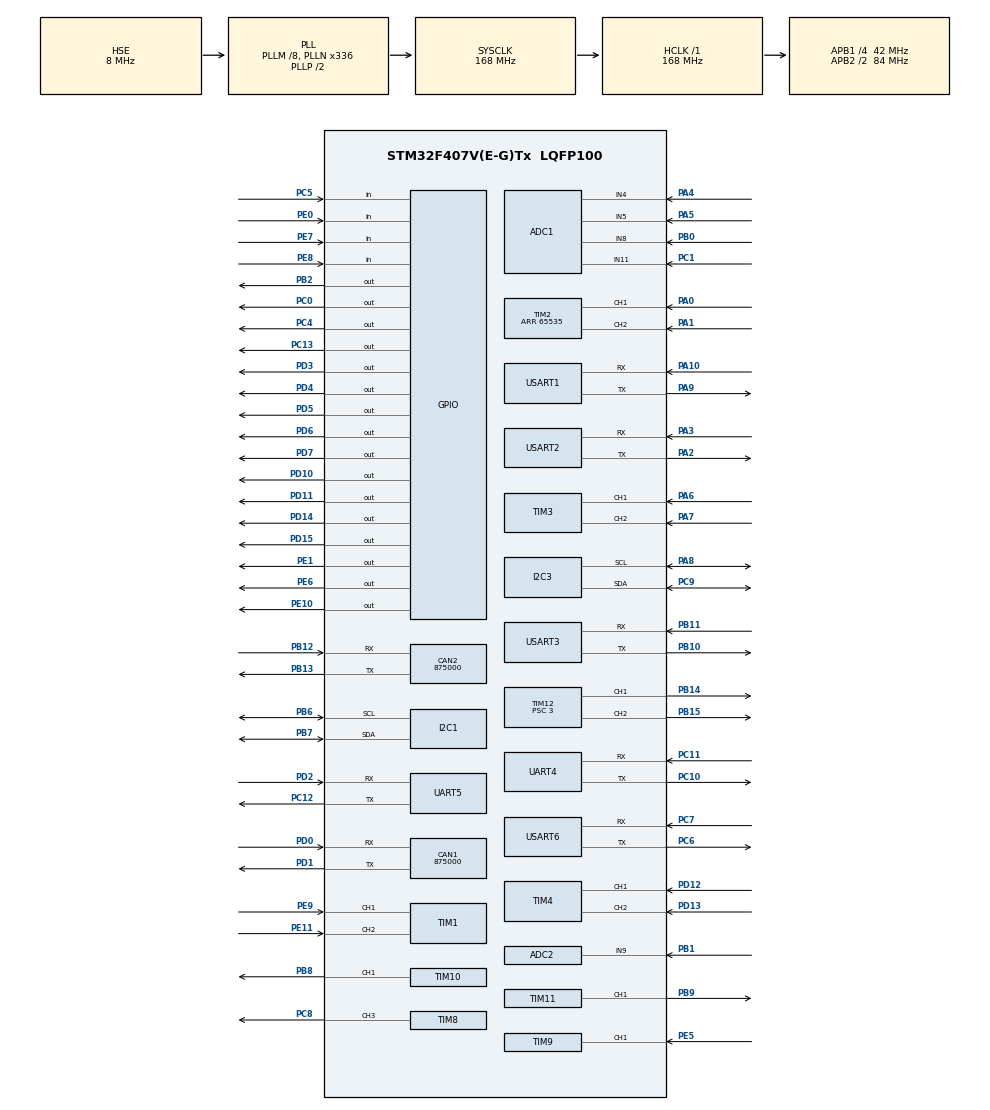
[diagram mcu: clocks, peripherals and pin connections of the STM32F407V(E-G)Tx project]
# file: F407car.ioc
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ADC1.Channel-0\#ChannelRegularConversion=ADC_CHANNEL_4
ADC1.NbrOfConversionFlag=1
ADC1.Rank-0\#ChannelRegularConversion=1
ADC1.SamplingTime-0\#ChannelRegularConversion=ADC_SAMPLETIME_3CYCLES
ADC1.master=1
ADC2.Channel-2\#ChannelRegularConversion=ADC_CHANNEL_9
ADC2.NbrOfConversionFlag=1
ADC2.Rank-2\#ChannelRegularConversion=1
ADC2.SamplingTime-2\#ChannelRegularConversion=ADC_SAMPLETIME_3CYCLES
CAN1.CalculateBaudRate=875000
CAN1.CalculateTimeBit=1142
CAN1.CalculateTimeQuantum=380.95238095238096
CAN2.CalculateBaudRate=875000
CAN2.CalculateTimeBit=1142
CAN2.CalculateTimeQuantum=380.95238095238096
Mcu.Family=STM32F4
Mcu.Name=STM32F407V(E-G)Tx
Mcu.Package=LQFP100
NVIC.PriorityGroup=NVIC_PRIORITYGROUP_4
NVIC.TIM6_DAC_IRQn=true\:0\:0\:false\:false\:true\:true\:true\:true
NVIC.UART4_IRQn=true\:0\:0\:false\:false\:true\:true\:true\:true
NVIC.USART1_IRQn=true\:0\:0\:false\:false\:true\:true\:true\:true
NVIC.USART2_IRQn=true\:0\:0\:false\:false\:true\:true\:true\:true
NVIC.USART3_IRQn=true\:0\:0\:false\:false\:true\:true\:true\:true
PA0-WKUP.Signal=S_TIM2_CH1_ETR
PA1.Signal=S_TIM2_CH2
PA10.Mode=Asynchronous
PA10.Signal=USART1_RX
PA13.Mode=Serial_Wire
PA13.Signal=SYS_JTMS-SWDIO
PA14.Mode=Serial_Wire
PA14.Signal=SYS_JTCK-SWCLK
PA2.Mode=Asynchronous
PA2.Signal=USART2_TX
PA3.Mode=Asynchronous
PA3.Signal=USART2_RX
PA4.Signal=ADCx_IN4
PA5.Signal=ADCx_IN5
PA6.Signal=S_TIM3_CH1
PA7.Signal=S_TIM3_CH2
PA8.Mode=I2C
PA8.Signal=I2C3_SCL
PA9.Mode=Asynchronous
PA9.Signal=USART1_TX
PB0.Signal=ADCx_IN8
PB1.Signal=ADCx_IN9
PB10.Mode=Asynchronous
PB10.Signal=USART3_TX
PB11.Mode=Asynchronous
PB11.Signal=USART3_RX
PB12.Mode=CAN_Activate
PB12.Signal=CAN2_RX
PB13.Mode=CAN_Activate
PB13.Signal=CAN2_TX
PB14.Signal=S_TIM12_CH1
PB15.Signal=S_TIM12_CH2
PB2.Signal=GPIO_Output
PB6.Mode=I2C
PB6.Signal=I2C1_SCL
PB7.Mode=I2C
PB7.Signal=I2C1_SDA
PB8.Signal=S_TIM10_CH1
PB9.Signal=S_TIM11_CH1
PC0.Signal=GPIO_Output
PC1.Signal=ADCx_IN11
PC10.Mode=Asynchronous
PC10.Signal=UART4_TX
PC11.Mode=Asynchronous
PC11.Signal=UART4_RX
PC12.Mode=Asynchronous
PC12.Signal=UART5_TX
PC13-ANTI_TAMP.Signal=GPIO_Output
PC4.Signal=GPIO_Output
PC5.GPIO_PuPd=GPIO_PULLUP
PC5.Signal=GPIO_Input
PC6.Mode=Asynchronous
PC6.Signal=USART6_TX
PC7.Mode=Asynchronous
PC7.Signal=USART6_RX
PC8.Signal=S_TIM8_CH3
PC9.Mode=I2C
PC9.Signal=I2C3_SDA
PD0.Mode=CAN_Activate
PD0.Signal=CAN1_RX
PD1.Mode=CAN_Activate
PD1.Signal=CAN1_TX
PD10.Signal=GPIO_Output
PD11.Signal=GPIO_Output
PD12.Signal=S_TIM4_CH1
PD13.Signal=S_TIM4_CH2
PD14.Signal=GPIO_Output
PD15.Signal=GPIO_Output
PD2.Mode=Asynchronous
PD2.Signal=UART5_RX
PD3.Signal=GPIO_Output
PD4.Signal=GPIO_Output
PD5.Signal=GPIO_Output
PD6.Signal=GPIO_Output
PD7.Signal=GPIO_Output
PE0.GPIO_PuPd=GPIO_PULLUP
PE0.Signal=GPIO_Input
PE1.Signal=GPIO_Output
PE10.Signal=GPIO_Output
PE11.Signal=S_TIM1_CH2
PE5.Signal=S_TIM9_CH1
PE6.Signal=GPIO_Output
PE7.GPIO_PuPd=GPIO_PULLUP
PE7.Signal=GPIO_Input
PE8.GPIO_PuPd=GPIO_PULLUP
PE8.Signal=GPIO_Input
PE9.Signal=S_TIM1_CH1
PH0-OSC_IN.Mode=HSE-External-Oscillator
PH0-OSC_IN.Signal=RCC_OSC_IN
PH1-OSC_OUT.Mode=HSE-External-Oscillator
PH1-OSC_OUT.Signal=RCC_OSC_OUT
ProjectManager.HeapSize=0x200
ProjectManager.StackSize=0x400
ProjectManager.TargetToolchain=MDK-ARM V5.32
RCC.48MHZClocksFreq_Value=84000000
RCC.AHBFreq_Value=168000000
RCC.APB1CLKDivider=RCC_HCLK_DIV4
RCC.APB1Freq_Value=42000000
RCC.APB1TimFreq_Value=84000000
RCC.APB2CLKDivider=RCC_HCLK_DIV2
RCC.APB2Freq_Value=84000000
RCC.APB2TimFreq_Value=168000000
RCC.CortexFreq_Value=168000000
RCC.HCLKFreq_Value=168000000
RCC.HSE_VALUE=8000000
RCC.HSI_VALUE=16000000
RCC.LSE_VALUE=32768
RCC.PLLM=8
RCC.PLLN=336
RCC.PLLSourceVirtual=RCC_PLLSOURCE_HSE
RCC.SYSCLKFreq_VALUE=168000000
RCC.SYSCLKSource=RCC_SYSCLKSOURCE_PLLCLK
RCC.VCOOutputFreq_Value=336000000
SH.ADCx_IN11.0=ADC1_IN11,IN11
SH.ADCx_IN4.0=ADC1_IN4,IN4
SH.ADCx_IN5.0=ADC1_IN5,IN5
SH.ADCx_IN8.0=ADC1_IN8,IN8
SH.ADCx_IN9.0=ADC2_IN9,IN9
SH.S_TIM10_CH1.0=TIM10_CH1,PWM Generation1 CH1
SH.S_TIM11_CH1.0=TIM11_CH1,PWM Generation1 CH1
SH.S_TIM12_CH1.0=TIM12_CH1,PWM Generation1 CH1
SH.S_TIM12_CH2.0=TIM12_CH2,PWM Generation2 CH2
SH.S_TIM1_CH1.0=TIM1_CH1,Encoder_Interface
SH.S_TIM1_CH2.0=TIM1_CH2,Encoder_Interface
SH.S_TIM2_CH1_ETR.0=TIM2_CH1,Encoder_Interface
SH.S_TIM2_CH2.0=TIM2_CH2,Encoder_Interface
SH.S_TIM3_CH1.0=TIM3_CH1,Encoder_Interface
SH.S_TIM3_CH2.0=TIM3_CH2,Encoder_Interface
SH.S_TIM4_CH1.0=TIM4_CH1,Encoder_Interface
SH.S_TIM4_CH2.0=TIM4_CH2,Encoder_Interface
SH.S_TIM8_CH3.0=TIM8_CH3,Output Compare3 CH3
SH.S_TIM9_CH1.0=TIM9_CH1,Input_Capture1_from_TI1
TIM1.EncoderMode=TIM_ENCODERMODE_TI12
TIM1.IC1Filter=4
TIM1.IC2Filter=4
TIM10.Channel=TIM_CHANNEL_1
TIM10.Prescaler=7
TIM11.Channel=TIM_CHANNEL_1
TIM11.Period=1049
TIM11.Prescaler=7
TIM12.Channel-PWM\ Generation1\ CH1=TIM_CHANNEL_1
TIM12.Channel-PWM\ Generation2\ CH2=TIM_CHANNEL_2
TIM12.Period=1049
TIM12.Prescaler=3
TIM2.EncoderMode=TIM_ENCODERMODE_TI12
TIM2.IC1Filter=4
TIM2.IC1Polarity=TIM_ICPOLARITY_FALLING
TIM2.IC2Filter=4
TIM2.Period=65535
TIM3.EncoderMode=TIM_ENCODERMODE_TI12
TIM3.IC1Filter=4
TIM3.IC2Filter=4
TIM4.EncoderMode=TIM_ENCODERMODE_TI12
TIM4.IC1Filter=4
TIM4.IC1Polarity=TIM_ICPOLARITY_FALLING
TIM4.IC2Filter=4
TIM6.AutoReloadPreload=TIM_AUTORELOAD_PRELOAD_ENABLE
TIM6.Period=4999
TIM6.Prescaler=83
TIM8.AutoReloadPreload=TIM_AUTORELOAD_PRELOAD_DISABLE
TIM8.Channel-Output\ Compare3\ CH3=TIM_CHANNEL_3
TIM9.Channel-Input_Capture1_from_TI1=TIM_CHANNEL_1
TIM9.Channel-Input_Capture2_from_TI1_63=TIM_CHANNEL_2
TIM9.ICPolarity_CH2=TIM_INPUTCHANNELPOLARITY_FALLING
UART4.VirtualMode=Asynchronous
UART5.VirtualMode=Asynchronous
USART1.VirtualMode=VM_ASYNC
USART2.VirtualMode=VM_ASYNC
USART3.VirtualMode=VM_ASYNC
USART6.VirtualMode=VM_ASYNC
VP_TIM10_VS_ClockSourceINT.Mode=Enable_Timer
VP_TIM11_VS_ClockSourceINT.Mode=Enable_Timer
VP_TIM12_VS_ClockSourceINT.Mode=Internal
VP_TIM6_VS_ClockSourceINT.Mode=Enable_Timer
VP_TIM8_VS_ClockSourceINT.Mode=Internal
VP_TIM9_VS_indirect_ch1.Mode=Input_Capture2_from_TI1_63
board=custom

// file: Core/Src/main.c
/* USER CODE BEGIN Header */
/**
  ******************************************************************************
  * @file           : main.c
  * @brief          : Main program body
  ******************************************************************************
  * @attention
  *
  * Copyright (c) 2026 STMicroelectronics.
  * All rights reserved.
  *
  * This software is licensed under terms that can be found in the LICENSE file
  * in the root directory of this software component.
  * If no LICENSE file comes with this software, it is provided AS-IS.
  *
  ******************************************************************************
  */
/* USER CODE END Header */
#include "main.h"
#include "adc.h"
#include "can.h"
#include "i2c.h"
#include "tim.h"
#include "usart.h"
#include "gpio.h"

/* USER CODE BEGIN Includes */
#include "led.h"
#include "uart1.h"
#include "encoder.h"
#include "motor.h"
#include "jy61p.h"
#include "control.h"
#include "kinematics.h"
#include "odometry.h"
#include "laser.h"
#include <stdio.h>
/* EasyLogger：LOG_TAG / LOG_LVL 必须先于 <elog.h> 定义 */
#define LOG_TAG    "MAIN"
#define LOG_LVL    ELOG_LVL_VERBOSE
#include <elog.h>
#include "SCServo.h"
#include "uart.h"
#include "receive.h"
#include "OLED.h"
#include "oled_ui.h"
#include "PID.h"
#include "key.h"

/* USER CODE END Includes */

/* USER CODE BEGIN PM */
uint8_t  g_uart3_receivedate = 0;  /* USART3(HWT905) 单字节接收缓冲 */
uint8_t  g_uart1_receivedate = 0;  /* USART1(蓝牙)   单字节接收缓冲 */
/* USER CODE END PM */

void SystemClock_Config(void);

int main(void)
{

  /* MCU Configuration--------------------------------------------------------*/

  /* Reset of all peripherals, Initializes the Flash interface and the Systick. */
  HAL_Init();

  /* Configure the system clock */
  SystemClock_Config();

  /* Initialize all configured peripherals */
  MX_GPIO_Init();
  MX_I2C3_Init();
  MX_UART4_Init();
  MX_UART5_Init();
  MX_USART1_UART_Init();
  MX_USART2_UART_Init();
  MX_USART3_UART_Init();
  MX_USART6_UART_Init();
  MX_CAN1_Init();
  MX_CAN2_Init();
  MX_TIM1_Init();
  MX_TIM2_Init();
  MX_TIM3_Init();
  MX_TIM4_Init();
  MX_TIM6_Init();
  MX_TIM8_Init();
  MX_TIM9_Init();
  MX_TIM10_Init();
  MX_TIM11_Init();
  MX_TIM12_Init();
  MX_ADC1_Init();
  MX_ADC2_Init();
  MX_I2C1_Init();
  /* USER CODE BEGIN 2 */

  // UART1_Send_Str((uint8_t *)"Car System Ready!  cmd: #N v  |  #a v1 v2 v3 v4\r\n");

  /* ===== EasyLogger 初始化（同步输出到 USART1/蓝牙口 115200）===== */
  elog_init();
  /* enabled_fmt_set 默认全 0，必须逐级显式开；只开 LVL|TAG|TIME */
  elog_set_fmt(ELOG_LVL_ASSERT,  ELOG_FMT_LVL | ELOG_FMT_TAG | ELOG_FMT_TIME);
  elog_set_fmt(ELOG_LVL_ERROR,   ELOG_FMT_LVL | ELOG_FMT_TAG | ELOG_FMT_TIME);
  elog_set_fmt(ELOG_LVL_WARN,    ELOG_FMT_LVL | ELOG_FMT_TAG | ELOG_FMT_TIME);
  elog_set_fmt(ELOG_LVL_INFO,    ELOG_FMT_LVL | ELOG_FMT_TAG | ELOG_FMT_TIME);
  elog_set_fmt(ELOG_LVL_DEBUG,   ELOG_FMT_LVL | ELOG_FMT_TAG | ELOG_FMT_TIME);
  elog_set_fmt(ELOG_LVL_VERBOSE, ELOG_FMT_LVL | ELOG_FMT_TAG | ELOG_FMT_TIME);
  elog_start();
  Encoder_Init();                                 /* 启动四路编码器计数 */
  Motor_Init();                                   /* 启动四路电机 PWM 输出 */
  Key_Init();                                     /* 四个按键（PC5/PE7/PE0/PE8，上拉） */
  Kinematics_Init();
  Odometry_Init();                                /* 里程计：上电位置记为原点 */

  HAL_TIM_Base_Start_IT(&htim6); //【必须手动加，开启定时器+中断】
  /* HWT905 九轴陀螺仪（USART3 PB10/PB11，模块波特率 115200）。
   * 平放时 |A| 应≈1.0g；对不上先查波特率，再查 jy61p.c 的换算系数。
   * 后续逐字节接收由 HAL_UART_RxCpltCallback 重武装（见 USER CODE BEGIN 4） */
  HAL_UART_Receive_IT(&huart3, &g_uart3_receivedate, 1);
  /* 视觉串口接收初始化 */
  Vision_UART_Init();

  /* XY 舵机 PID 控制初始化 */
  Servo_PID_Init();
  Uart_Init();   /* 使能舵机 USART2 接收中断, ReadPos 才能读到位置 */

  /* OLED 初始化 */
  OLED_Init();
  OLED_ShowString(0, 0, "Waiting...", OLED_6X8);
  OLED_Update();

  /* 非阻塞调度时间戳(毫秒) */
  uint32_t prev_led   = 0;
  uint32_t prev_servo = 0;
  uint32_t prev_oled  = 0;
  static uint8_t sim_key3_state = 0;   /* KEY_3 模拟: 0=未按 1=球已模拟 2=桶已模拟 */

  /* 蓝牙 PID 调试口（USART1 PA9/PA10，115200）：和上面一样先武装起来，
   * 每字节进 HAL_UART_RxCpltCallback -> Debug_RxByte()。
   * 指令与回传格式见 app/control.h */
  HAL_UART_Receive_IT(&huart1, &g_uart1_receivedate, 1);

  /* 电机自检：架空车轮后取消下面一行的注释即可运行（约 11 秒后四轮自动停转） */
  /* Motor_TestRun(); */
  /* USER CODE END 2 */

  /* Infinite loop */
  /* USER CODE BEGIN WHILE */

   LED_On(1);
   LED_On(2);
   LED_On(3);
   LED_On(4);
  HAL_Delay(3000);  /* 等待蓝牙连接，避免开机就发一堆垃圾 */
   LED_Off(1);
   LED_Off(2);
   LED_Off(3);
   LED_Off(4);

  /* EasyLogger 上电验证日志（等蓝牙连上后再发） */
  log_i("system boot ok, tick=%lu", (unsigned long)HAL_GetTick());
  while (1)
  {
    uint8_t txbuf[128];
    int     len;

//	  Motor_Load(100,0,0,0);
//	  Motor_Load(100,-100,+100,-100);
//    /* --- 旧写法（sprintf + UART1_Send_Buf）已废弃，改为 elog 写法 ---
//   len = sprintf((char *)txbuf, "E1:%d  E2:%d E3:%d  E4:%d\r\n",
//                 (int)Encoder_GetDelta(ENC_WHEEL1), (int)Encoder_GetDelta(ENC_WHEEL2),
//                 (int)Encoder_GetDelta(ENC_WHEEL3), (int)Encoder_GetDelta(ENC_WHEEL4));
//   UART1_Send_Buf(txbuf, (uint16_t)len);
//     --- 新写法：一条 log_i 直接打出，不用 txbuf/len --- */
//
//    log_i("E1:%d E2:%d E3:%d E4:%d",
//          (int)Encoder_GetDelta(ENC_WHEEL1), (int)Encoder_GetDelta(ENC_WHEEL2),
//          (int)Encoder_GetDelta(ENC_WHEEL3), (int)Encoder_GetDelta(ENC_WHEEL4));
//
//    log_i("T1:%d E1:%d P1:%d T2:%d E2:%d P2:%d "
//          "T3:%d E3:%d P3:%d T4:%d E4:%d P4:%d",
//          (int)Debug_Target[0], (int)Encoder_GetDelta(ENC_WHEEL1), (int)Debug_Pwm[0],
//          (int)Debug_Target[1], (int)Encoder_GetDelta(ENC_WHEEL2), (int)Debug_Pwm[1],
//          (int)Debug_Target[2], (int)Encoder_GetDelta(ENC_WHEEL3), (int)Debug_Pwm[2],
//          (int)Debug_Target[3], (int)Encoder_GetDelta(ENC_WHEEL4), (int)Debug_Pwm[3]);
//
//    /* Debug_Poll() 见 app/control.c（已改为 elog 写法） */
//
//    /* HWT905 示例：取消注释后要把上面 Debug_Poll 关掉，两者抢同一条蓝牙口。
//     * 注意 %f 会拉入浮点 printf（多几 KB flash、更吃栈），建议改定点 (int)(Yaw*100) */
//    log_i("A:%.3f %.3f %.3f G:%.2f %.2f %.2f RPY:%.2f %.2f %.2f",
//          Ax, Ay, Az, Gx, Gy, Gz, Roll, Pitch, Yaw);
		if (Key_Check(KEY_1, KEY_SINGLE))
		{
			KeyNum ^= 1;              /* 0 <-> 1 跑停翻转 */
			if (KeyNum) LED_On(1);    /* LED1 如实反映当前状态 */
			else        LED_Off(1);
		}

        /* 测试模拟: KEY_2=模拟收到二维码A5; KEY_3 第1次=球稳定(num1=2), 第2次=桶稳定 */
        if (Key_Check(KEY_2, KEY_SINGLE))
        {
            vision_data.rx_status = 1;      /* 模拟收到二维码 A5 */
        }
        if (Key_Check(KEY_3, KEY_SINGLE))
        {
            if (sim_key3_state == 0) { sim_ball_stable = 1; vision_data.num1 = 2; sim_key3_state = 1; }
            else if (sim_key3_state == 1) { sim_bucket_stable = 1; sim_key3_state = 2; }
        }
		if (Key_Check(KEY_4, KEY_SINGLE))
        {
           /* 识别直线小车补偿测试: 0=关 -> 1=X补偿(61) -> 2=Y补偿(85) -> 0 */
           test_line_run = (test_line_run + 1) % 3;
        }

    /* HOLD 段动作(视觉握手 + 舵机序列), 主循环每圈调用 */
    Hold_Action_Update();

    Laser_Track_Test();   /* 激光打靶测试(独立于运动系统) */
    Line_Track_Test();    /* 识别直线小车补偿测试(独立于运动系统) */

    uint32_t now = HAL_GetTick();

    /* OLED 每 200ms 刷新一次(显示陀螺仪姿态角) */
    if (now - prev_oled >= 200)
    {
        prev_oled = now;
        // OLED_ShowGyro();   /* 陀螺仪页（Roll/Pitch/Yaw） */
        // OLED_ShowStatus();   /* 状态/收发/坐标/偏航角页 */
        OLED_ShowVision();
        line_test_debug();   /* 同样这几项打一行到 LOG(蓝牙口) */
        FT_test_debug();     /* 四个舵机实际位置打一行到 LOG(蓝牙口) */
    }

    /* LED1 闪烁: 每 500ms 翻转(亮500ms灭500ms) */
    if (now - prev_led >= 500)
    {
        prev_led = now;
        // LED_Toggle(1);
    }

    /* 舵机指令 + LED4: 约每 1s 一次 */
    if (now - prev_servo >= 1000)
    {
        prev_servo = now;
        // WritePosEx(1, 2680, 5, 0);
        // WritePosEx(2, 3560, 5, 0);
        // WritePosEx(3, 700, 5, 0);
        LED_Toggle(4);
    }

    /* USER CODE END WHILE */

  }
}

void SystemClock_Config(void)
{
  RCC_OscInitTypeDef RCC_OscInitStruct = {0};
  RCC_ClkInitTypeDef RCC_ClkInitStruct = {0};

  /** Configure the main internal regulator output voltage
  */
  __HAL_RCC_PWR_CLK_ENABLE();
  __HAL_PWR_VOLTAGESCALING_CONFIG(PWR_REGULATOR_VOLTAGE_SCALE1);

  /** Initializes the RCC Oscillators according to the specified parameters
  * in the RCC_OscInitTypeDef structure.
  */
  RCC_OscInitStruct.OscillatorType = RCC_OSCILLATORTYPE_HSE;
  RCC_OscInitStruct.HSEState = RCC_HSE_ON;
  RCC_OscInitStruct.PLL.PLLState = RCC_PLL_ON;
  RCC_OscInitStruct.PLL.PLLSource = RCC_PLLSOURCE_HSE;
  RCC_OscInitStruct.PLL.PLLM = 8;
  RCC_OscInitStruct.PLL.PLLN = 336;
  RCC_OscInitStruct.PLL.PLLP = RCC_PLLP_DIV2;
  RCC_OscInitStruct.PLL.PLLQ = 4;
  if (HAL_RCC_OscConfig(&RCC_OscInitStruct) != HAL_OK)
  {
    Error_Handler();
  }

  /** Initializes the CPU, AHB and APB buses clocks
  */
  RCC_ClkInitStruct.ClockType = RCC_CLOCKTYPE_HCLK|RCC_CLOCKTYPE_SYSCLK
                              |RCC_CLOCKTYPE_PCLK1|RCC_CLOCKTYPE_PCLK2;
  RCC_ClkInitStruct.SYSCLKSource = RCC_SYSCLKSOURCE_PLLCLK;
  RCC_ClkInitStruct.AHBCLKDivider = RCC_SYSCLK_DIV1;
  RCC_ClkInitStruct.APB1CLKDivider = RCC_HCLK_DIV4;
  RCC_ClkInitStruct.APB2CLKDivider = RCC_HCLK_DIV2;

  if (HAL_RCC_ClockConfig(&RCC_ClkInitStruct, FLASH_LATENCY_5) != HAL_OK)
  {
    Error_Handler();
  }
}

/* USER CODE BEGIN 4 */
// 放在USER CODE BEGIN 4这个代码段！！CubeMX重新生成不会删掉这里！
void HAL_UART_RxCpltCallback(UART_HandleTypeDef *huart)
{
    if( huart == &huart3 )
    {
        jy61p_ReceiveData(g_uart3_receivedate);
        HAL_UART_Receive_IT(&huart3,&g_uart3_receivedate,1);
    }
    else if( huart == &huart1 )
    {
        Debug_RxByte(g_uart1_receivedate);
        HAL_UART_Receive_IT(&huart1,&g_uart1_receivedate,1);
    }
		 else if (huart == &huart4)
    {
        Vision_UART_RxCpltCallback();
    }
}

/* 串口出错(溢出/帧错误/噪声)时 HAL 调用这里。默认是空实现、且不会重新武装接收，
 * 出错一次后 USART3 就永久停摆——表现就是"读数卡住, 只有 reset 才恢复"。
 * 这里清掉错误标志并重新启动接收即可自愈。 */
void HAL_UART_ErrorCallback(UART_HandleTypeDef *huart)
{
    if (huart == &huart3)
    {
        __HAL_UART_CLEAR_OREFLAG(huart);      /* 清溢出 ORE (内部读 SR 再读 DR) */
        __HAL_UART_CLEAR_FEFLAG(huart);       /* 清帧错误 FE */
        __HAL_UART_CLEAR_NEFLAG(huart);       /* 清噪声错误 NE */
        HAL_UART_Receive_IT(&huart3, &g_uart3_receivedate, 1);
    }
    else if (huart == &huart1)
    {
        __HAL_UART_CLEAR_OREFLAG(huart);
        HAL_UART_Receive_IT(&huart1, &g_uart1_receivedate, 1);
    }
}
/* USER CODE END 4 */

void Error_Handler(void)
{
  __disable_irq();
  while (1)
  {
  }
}
